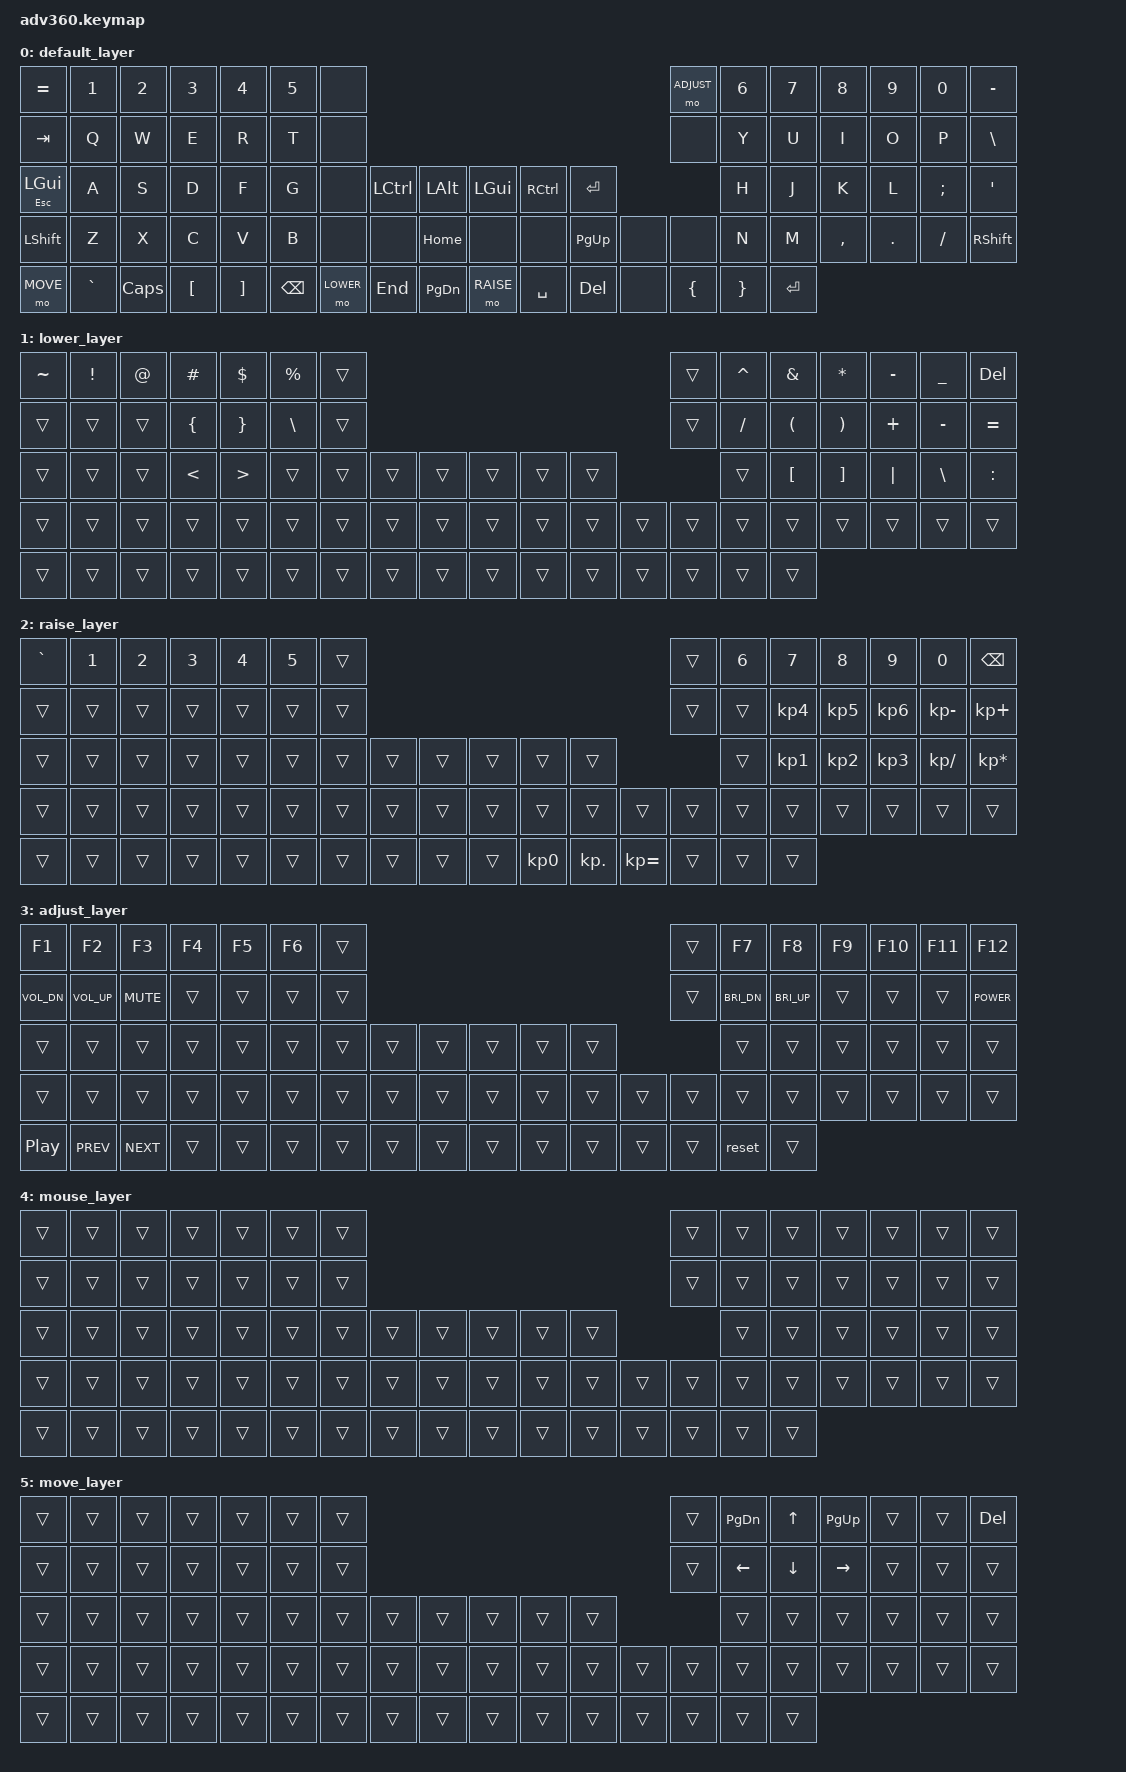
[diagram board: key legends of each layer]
#include <behaviors.dtsi>
#include <dt-bindings/zmk/keys.h>
#include <dt-bindings/zmk/bt.h>
#include <dt-bindings/zmk/rgb.h>
#include <dt-bindings/zmk/backlight.h>

// ============================================================
// Layer indices -- mirrors your Planck naming convention.
// On the Planck these were 0=Lower, 1=Base, 2=Raise, 3=Adjust,
// 4=Mouse, 5=Move. ZMK uses 0 for default, so BASE is first
// here, but the names map directly.
// ============================================================
#define BASE   0
#define LOWER  1
#define RAISE  2
#define ADJUST 3
#define MOUSE  4
#define MOVE   5

/ {
    // Tri-layer: holding LOWER + RAISE simultaneously activates ADJUST.
    // This is the Planck pattern, native in ZMK.
    conditional_layers {
        compatible = "zmk,conditional-layers";
        tri_layer {
            if-layers = <LOWER RAISE>;
            then-layer = <ADJUST>;
        };
    };

    behaviors {
        #include "macros.dtsi"

        // Esc/Cmd mod-tap (matches your Planck thumb).
        // Tap = Esc, hold = LGUI (Cmd on Mac).
        esc_cmd: esc_cmd_mt {
            compatible = "zmk,behavior-hold-tap";
            label = "ESC_CMD";
            #binding-cells = <2>;
            tapping-term-ms = <200>;
            quick_tap_ms = <175>;
            flavor = "tap-preferred";
            bindings = <&kp>, <&kp>;
        };

        // Home-row mods -- defined for later, NOT used on base yet.
        // When acclimated (week 3+), swap &kp A -> &hm LGUI A etc.
        hm: homerow_mods {
            compatible = "zmk,behavior-hold-tap";
            label = "HOMEROW_MODS";
            #binding-cells = <2>;
            tapping-term-ms = <200>;
            quick_tap_ms = <175>;
            flavor = "tap-preferred";
            bindings = <&kp>, <&kp>;
        };
    };

    keymap {
        compatible = "zmk,keymap";

        // ============================================================
        // BASE -- QWERTY, Planck thumbs ported to 360.
        //
        // LEFT THUMB CLUSTER (outer -> inner across the cluster):
        //   row 1 (top of cluster):  &none, MOVE-hold
        //   row 2:                   LCTRL, LALT
        //   row 3 (big keys):        BSPC, DEL
        //   The big inner left thumb = LOWER-hold.
        //
        // RIGHT THUMB CLUSTER:
        //   The big inner right thumb = RAISE-hold.
        //   Adjacent: Space, Enter
        //   Outer: extra modifiers / passthrough
        //
        // OUTER COLUMNS (extra real estate vs Planck):
        //   Left outer: TAB, esc_cmd (tap=Esc, hold=Cmd), Shift, MOVE-hold
        //   Right outer: BSLH, SQT (matches your Planck right-pinky)
        // ============================================================
        default_layer {
            bindings = <
&kp EQUAL          &kp N1   &kp N2   &kp N3   &kp N4   &kp N5   &none                                                                          &mo ADJUST    &kp N6   &kp N7   &kp N8     &kp N9   &kp N0    &kp MINUS
&kp TAB            &kp Q    &kp W    &kp E    &kp R    &kp T    &none                                                                          &none         &kp Y    &kp U    &kp I      &kp O    &kp P     &kp BSLH
&esc_cmd ESC LGUI  &kp A    &kp S    &kp D    &kp F    &kp G    &none      &kp LCTRL  &kp LALT     &kp LGUI    &kp RCTRL  &kp ENTER                          &kp H    &kp J    &kp K      &kp L    &kp SEMI  &kp SQT
&kp LSHFT          &kp Z    &kp X    &kp C    &kp V    &kp B    &none      &none      &kp HOME     &none       &none      &kp PG_UP   &none      &none       &kp N    &kp M    &kp COMMA  &kp DOT  &kp FSLH  &kp RSHFT
&mo MOVE           &kp GRAVE &kp CAPS &kp LBKT &kp RBKT &kp BSPC &mo LOWER  &kp END    &kp PG_DN   &mo RAISE   &kp SPACE  &kp DEL     &none     &kp LBRC     &kp RBRC &kp ENTER
            >;
        };

        // ============================================================
        // LOWER -- symbols. Held by left thumb (mirrors Planck Lower).
        //
        // Mapped from your Planck Lower layer:
        //   Top row:    ~ ! @ # $ %  |  ^ & * - _ Del
        //   Mid row:    -- A S { } \  |  / ( ) + - =
        //   Lower row:  Sh Z X < > B  |  N [ ] | \ :
        //
        // Outer columns on 360 get extras that didn't fit on Planck.
        // ============================================================
        lower_layer {
            bindings = <
&kp TILDE  &kp EXCL  &kp AT    &kp HASH  &kp DLLR  &kp PRCNT  &trans                                                       &trans   &kp CARET  &kp AMPS  &kp ASTRK  &kp MINUS  &kp UNDER  &kp DEL
&trans     &trans    &trans    &kp LBRC  &kp RBRC  &kp BSLH   &trans                                                       &trans   &kp FSLH   &kp LPAR  &kp RPAR   &kp PLUS   &kp MINUS  &kp EQUAL
&trans     &trans    &trans    &kp LT    &kp GT    &trans     &trans   &trans  &trans  &trans  &trans  &trans                       &trans     &kp LBKT  &kp RBKT   &kp PIPE   &kp BSLH   &kp COLON
&trans     &trans    &trans    &trans    &trans    &trans     &trans   &trans  &trans  &trans  &trans  &trans  &trans  &trans       &trans     &trans    &trans     &trans     &trans     &trans
&trans     &trans    &trans    &trans    &trans    &trans     &trans   &trans  &trans  &trans  &trans  &trans  &trans      &trans   &trans     &trans
            >;
        };

        // ============================================================
        // RAISE -- numbers + numpad. Held by right thumb.
        //
        // Mapped from your Planck Raise layer:
        //   Top:  ` 1 2 3 4 5  |  6 7 8 9 0 BSPC
        //   Mid:  -- (transparent) -- |  numpad 4 5 6 - +
        //   Low:  -- (transparent) -- |  numpad 1 2 3 / *
        //   Thumbs: -- numpad 0, ., =
        // ============================================================
        raise_layer {
            bindings = <
&kp GRAVE  &kp N1   &kp N2   &kp N3   &kp N4   &kp N5   &trans                                                          &trans   &kp N6   &kp N7        &kp N8        &kp N9        &kp N0           &kp BSPC
&trans     &trans   &trans   &trans   &trans   &trans   &trans                                                          &trans   &trans   &kp KP_N4     &kp KP_N5     &kp KP_N6     &kp KP_MINUS     &kp KP_PLUS
&trans     &trans   &trans   &trans   &trans   &trans   &trans   &trans  &trans  &trans  &trans  &trans                          &trans   &kp KP_N1     &kp KP_N2     &kp KP_N3     &kp KP_DIVIDE    &kp KP_MULTIPLY
&trans     &trans   &trans   &trans   &trans   &trans   &trans   &trans  &trans  &trans  &trans  &trans  &trans  &trans          &trans   &trans        &trans        &trans        &trans           &trans
&trans     &trans   &trans   &trans   &trans   &trans   &trans   &trans  &trans  &trans  &kp KP_N0 &kp KP_DOT &kp KP_EQUAL &trans &trans   &trans
            >;
        };

        // ============================================================
        // ADJUST -- function keys + media + system.
        // Activated AUTOMATICALLY when LOWER + RAISE both held.
        //
        // Mapped from your Planck Adjust layer:
        //   Top: F1-F12
        //   Mid: Vol-/Vol+/Mute, brightness controls, Eject
        //   Low: Play, Rewind, Fast-forward, Reset
        // ============================================================
        adjust_layer {
            bindings = <
&kp F1            &kp F2        &kp F3       &kp F4   &kp F5   &kp F6   &trans                                                  &trans   &kp F7        &kp F8        &kp F9        &kp F10       &kp F11   &kp F12
&kp C_VOL_DN      &kp C_VOL_UP  &kp C_MUTE   &trans   &trans   &trans   &trans                                                  &trans   &kp C_BRI_DN  &kp C_BRI_UP  &trans        &trans        &trans    &kp K_POWER
&trans            &trans        &trans       &trans   &trans   &trans   &trans   &trans  &trans  &trans  &trans  &trans                  &trans        &trans        &trans        &trans        &trans    &trans
&trans            &trans        &trans       &trans   &trans   &trans   &trans   &trans  &trans  &trans  &trans  &trans  &trans  &trans  &trans        &trans        &trans        &trans        &trans    &trans
&kp C_PLAY_PAUSE  &kp C_PREV    &kp C_NEXT   &trans   &trans   &trans   &trans   &trans  &trans  &trans  &trans  &trans  &trans  &trans  &reset    &trans
            >;
        };

        // ============================================================
        // MOUSE -- placeholder. ZMK mouse keys require enabling
        // CONFIG_ZMK_MOUSE=y in adv360.conf and are still flagged
        // experimental. Layer reserved so numbering matches your
        // Planck mental model. Wire up real mouse bindings later.
        // ============================================================
        mouse_layer {
            bindings = <
&trans  &trans  &trans  &trans  &trans  &trans  &trans                                                  &trans  &trans  &trans  &trans  &trans  &trans  &trans
&trans  &trans  &trans  &trans  &trans  &trans  &trans                                                  &trans  &trans  &trans  &trans  &trans  &trans  &trans
&trans  &trans  &trans  &trans  &trans  &trans  &trans  &trans  &trans  &trans  &trans  &trans                  &trans  &trans  &trans  &trans  &trans  &trans
&trans  &trans  &trans  &trans  &trans  &trans  &trans  &trans  &trans  &trans  &trans  &trans  &trans  &trans  &trans  &trans  &trans  &trans  &trans  &trans
&trans  &trans  &trans  &trans  &trans  &trans  &trans  &trans  &trans  &trans  &trans  &trans  &trans  &trans  &trans  &trans
            >;
        };

        // ============================================================
        // MOVE -- navigation. Held by bottom-left thumb (mo MOVE).
        //
        // Mapped from your Planck Move layer:
        //   Top right: PgDn, Up, PgUp on top row; Del at far right
        //   Mid right: Left, Down, Right (Vim-style on home position)
        //
        // Right hand stays anchored on home row, left hand passes through
        // (so chords like Cmd+Right still work).
        // ============================================================
        move_layer {
            bindings = <
&trans  &trans  &trans  &trans  &trans  &trans  &trans                                                  &trans  &kp PG_DN  &kp UP    &kp PG_UP  &trans   &trans   &kp DEL
&trans  &trans  &trans  &trans  &trans  &trans  &trans                                                  &trans  &kp LEFT   &kp DOWN  &kp RIGHT  &trans   &trans   &trans
&trans  &trans  &trans  &trans  &trans  &trans  &trans  &trans  &trans  &trans  &trans  &trans                  &trans     &trans    &trans     &trans   &trans   &trans
&trans  &trans  &trans  &trans  &trans  &trans  &trans  &trans  &trans  &trans  &trans  &trans  &trans  &trans  &trans     &trans    &trans     &trans   &trans   &trans
&trans  &trans  &trans  &trans  &trans  &trans  &trans  &trans  &trans  &trans  &trans  &trans  &trans  &trans  &trans     &trans
            >;
        };
    };
};
